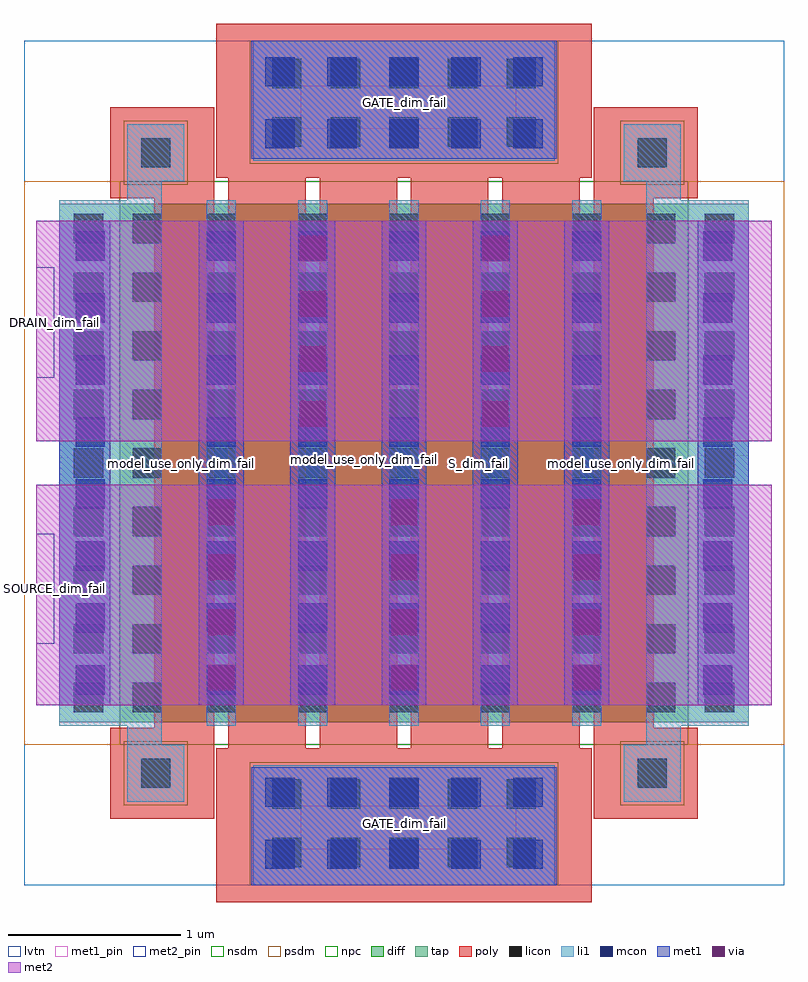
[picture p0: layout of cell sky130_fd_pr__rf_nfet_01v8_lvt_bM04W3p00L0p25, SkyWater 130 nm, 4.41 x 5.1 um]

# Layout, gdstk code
import gdstk
lib = gdstk.Library(unit=1e-6, precision=1e-09)
def R(c, l, rs):  # rectangles x0, y0, x1, y1
    for r in rs: c.add(gdstk.rectangle(r[:2], r[2:], *l))
def A(c, l, x, y, w, h, nx, ny, dx, dy):  # array of equal rectangles
    R(c, l, [(x+i*dx, y+j*dy, x+i*dx+w, y+j*dy+h) for i in range(nx) for j in range(ny)])
def P(c, l, *ps):  # polygons
    for p in ps: c.add(gdstk.Polygon(p, *l))
diff = (65, 20)
tap = (65, 44)
poly = (66, 20)
licon = (66, 44)
li1 = (67, 20)
mcon = (67, 44)
met1_pin = (68, 16)
met1 = (68, 20)
via = (68, 44)
met2_pin = (69, 16)
met2 = (69, 20)
nsdm = (93, 44)
psdm = (94, 20)
npc = (95, 20)
lvtn = (125, 44)

sky130_fd_pr__rf_nfet_01 = lib.new_cell('sky130_fd_pr__rf_nfet_01v8_lvt_bM04W3p00L0p25')
R(sky130_fd_pr__rf_nfet_01, diff, [(0.555,0.945,3.855,3.955)])
R(sky130_fd_pr__rf_nfet_01, tap, [(0.205,0.945,0.555,3.955), (3.855,0.945,4.205,3.955)])
P(sky130_fd_pr__rf_nfet_01, poly, [(0.5,0.385),(0.5,0.915),(0.755,0.915),(0.755,3.985),(0.5,3.985),(0.5,4.515),(1.105,4.515),(1.105,0.385)],
  [(3.305,0.385),(3.305,4.515),(3.91,4.515),(3.91,3.985),(3.655,3.985),(3.655,0.915),(3.91,0.915),(3.91,0.385)],
  [(1.115,-0.1),(1.115,0.795),(1.185,0.795),(1.185,4.105),(1.635,4.105),(1.635,0.795),(1.715,0.795),(1.715,4.105),(2.165,4.105),(2.165,0.795),(2.245,0.795),(2.245,4.105),(2.695,4.105),(2.695,0.795),(2.775,0.795),(2.775,4.105),(1.115,4.105),(1.115,5),(3.295,5),(3.295,4.105),(3.225,4.105),(3.225,0.795),(3.295,0.795),(3.295,-0.1)])
A(sky130_fd_pr__rf_nfet_01, licon, 1.44, 0.105, 0.17, 0.17, 5, 2, 0.34, 0.34)
A(sky130_fd_pr__rf_nfet_01, licon, 0.29, 1.005, 0.17, 0.17, 1, 9, 0, 0.34)
A(sky130_fd_pr__rf_nfet_01, licon, 0.63, 1.005, 0.17, 0.17, 1, 9, 0, 0.34)
A(sky130_fd_pr__rf_nfet_01, licon, 1.06, 1.005, 0.17, 0.17, 5, 9, 0.53, 0.34)
A(sky130_fd_pr__rf_nfet_01, licon, 3.61, 1.005, 0.17, 0.17, 1, 9, 0, 0.34)
A(sky130_fd_pr__rf_nfet_01, licon, 3.95, 1.005, 0.17, 0.17, 1, 9, 0, 0.34)
A(sky130_fd_pr__rf_nfet_01, licon, 1.44, 4.285, 0.17, 0.17, 5, 2, 0.34, 0.34)
R(sky130_fd_pr__rf_nfet_01, licon, [(0.68,0.565,0.85,0.735), (3.56,0.565,3.73,0.735), (0.68,4.165,0.85,4.335), (3.56,4.165,3.73,4.335)])
A(sky130_fd_pr__rf_nfet_01, li1, 1.06, 0.925, 0.17, 3.05, 5, 1, 0.53, 0)
A(sky130_fd_pr__rf_nfet_01, li1, 1.06, 1.105, 0.17, 2.69, 5, 1, 0.53, 0)
R(sky130_fd_pr__rf_nfet_01, li1, [(1.33,0,3.08,0.695), (0.6,0.485,0.93,0.815), (3.48,0.485,3.81,0.815), (0.6,0.815,0.8,0.925), (3.61,0.815,3.81,0.925), (0.205,0.925,0.8,3.975), (3.61,0.925,4.205,3.975), (0.6,3.975,0.8,4.085), (3.61,3.975,3.81,4.085), (0.6,4.085,0.93,4.415), (3.48,4.085,3.81,4.415), (1.33,4.205,3.08,4.9)])
A(sky130_fd_pr__rf_nfet_01, mcon, 1.4, 0.095, 0.17, 0.17, 5, 2, 0.36, 0.36)
A(sky130_fd_pr__rf_nfet_01, mcon, 0.3, 1.105, 0.17, 0.17, 1, 8, 0, 0.36)
A(sky130_fd_pr__rf_nfet_01, mcon, 1.06, 1.105, 0.17, 0.17, 5, 8, 0.53, 0.36)
A(sky130_fd_pr__rf_nfet_01, mcon, 3.94, 1.105, 0.17, 0.17, 1, 8, 0, 0.36)
A(sky130_fd_pr__rf_nfet_01, mcon, 1.4, 4.275, 0.17, 0.17, 5, 2, 0.36, 0.36)
R(sky130_fd_pr__rf_nfet_01, met1_pin, [(1.605,0.21,2.855,0.46), (0.205,2.33,0.5,2.48), (3.91,2.345,4.205,2.495), (1.605,4.39,2.855,4.64)])
A(sky130_fd_pr__rf_nfet_01, met1, 1.015, 1.045, 0.26, 2.81, 5, 1, 0.53, 0)
A(sky130_fd_pr__rf_nfet_01, met1, 1.015, 1.045, 0.26, 1.28, 3, 1, 1.06, 0)
R(sky130_fd_pr__rf_nfet_01, met1, [(1.32,0,3.09,0.685), (0.205,1.045,0.5,3.855), (3.91,1.045,4.205,3.855), (1.545,2.575,1.805,3.855), (2.605,2.575,2.865,3.855), (1.32,4.215,3.09,4.9)])
A(sky130_fd_pr__rf_nfet_01, via, 1.07, 1.13, 0.15, 0.15, 3, 4, 1.06, 0.32)
A(sky130_fd_pr__rf_nfet_01, via, 1.6, 2.66, 0.15, 0.15, 1, 4, 0, 0.32)
A(sky130_fd_pr__rf_nfet_01, via, 2.66, 2.66, 0.15, 0.15, 1, 4, 0, 0.32)
R(sky130_fd_pr__rf_nfet_01, met2_pin, [(0.07,1.4,0.175,2.04), (0.07,2.945,0.175,3.585)])
A(sky130_fd_pr__rf_nfet_01, met2, 1.015, 1.045, 0.26, 1.28, 3, 1, 1.06, 0)
R(sky130_fd_pr__rf_nfet_01, met2, [(0.07,1.045,4.34,2.325), (0.07,2.575,4.34,3.855), (1.545,2.575,1.805,3.855), (2.605,2.575,2.865,3.855)])
R(sky130_fd_pr__rf_nfet_01, nsdm, [(0.555,0.815,3.855,4.085)])
R(sky130_fd_pr__rf_nfet_01, psdm, [(0,0.815,0.555,4.085), (3.855,0.815,4.41,4.085)])
R(sky130_fd_pr__rf_nfet_01, npc, [(1.31,0,3.1,0.715), (0.58,0.465,0.95,0.835), (3.46,0.465,3.83,0.835), (0.58,4.065,0.95,4.435), (3.46,4.065,3.83,4.435), (1.31,4.185,3.1,4.9)])
R(sky130_fd_pr__rf_nfet_01, lvtn, [(0,0,4.41,4.9)])
sky130_fd_pr__rf_nfet_01.add(gdstk.Label('GATE_dim_fail', (2.205,0.36), layer=68, texttype=5))
sky130_fd_pr__rf_nfet_01.add(gdstk.Label('GATE_dim_fail', (2.205,4.54), layer=68, texttype=5))
sky130_fd_pr__rf_nfet_01.add(gdstk.Label('model_use_only_dim_fail', (3.465,2.45), layer=66, texttype=83))
sky130_fd_pr__rf_nfet_01.add(gdstk.Label('model_use_only_dim_fail', (0.915,2.45), layer=66, texttype=83))
sky130_fd_pr__rf_nfet_01.add(gdstk.Label('model_use_only_dim_fail', (1.975,2.47), layer=66, texttype=83))
sky130_fd_pr__rf_nfet_01.add(gdstk.Label('model_use_only_dim_fail', (2.4,2.49), layer=66, texttype=83))
sky130_fd_pr__rf_nfet_01.add(gdstk.Label('model_use_only_dim_fail', (2.96,2.505), layer=66, texttype=83))
sky130_fd_pr__rf_nfet_01.add(gdstk.Label('model_use_only_dim_fail', (1.43,2.47), layer=66, texttype=83))
sky130_fd_pr__rf_nfet_01.add(gdstk.Label('SUBSTRATE', (0.315,2.41), layer=68, texttype=16))
sky130_fd_pr__rf_nfet_01.add(gdstk.Label('SUBSTRATE', (4.02,2.425), layer=68, texttype=16))
sky130_fd_pr__rf_nfet_01.add(gdstk.Label('dummy_poly_dim_fail', (3.465,2.51), layer=83, texttype=44))
sky130_fd_pr__rf_nfet_01.add(gdstk.Label('dummy_poly_dim_fail', (0.91,2.51), layer=83, texttype=44))
sky130_fd_pr__rf_nfet_01.add(gdstk.Label('S_dim_fail', (1.345,2.45), layer=83, texttype=44))
sky130_fd_pr__rf_nfet_01.add(gdstk.Label('S_dim_fail', (1.775,2.45), layer=83, texttype=44))
sky130_fd_pr__rf_nfet_01.add(gdstk.Label('S_dim_fail', (2.205,2.45), layer=83, texttype=44))
sky130_fd_pr__rf_nfet_01.add(gdstk.Label('S_dim_fail', (2.635,2.45), layer=83, texttype=44))
sky130_fd_pr__rf_nfet_01.add(gdstk.Label('S_dim_fail', (1.345,2.45), layer=83, texttype=44))
sky130_fd_pr__rf_nfet_01.add(gdstk.Label('D_dim_fail', (1.775,2.45), layer=83, texttype=44))
sky130_fd_pr__rf_nfet_01.add(gdstk.Label('S_dim_fail', (2.205,2.45), layer=83, texttype=44))
sky130_fd_pr__rf_nfet_01.add(gdstk.Label('D_dim_fail', (2.635,2.45), layer=83, texttype=44))
sky130_fd_pr__rf_nfet_01.add(gdstk.Label('S_dim_fail', (3.065,2.45), layer=83, texttype=44))
sky130_fd_pr__rf_nfet_01.add(gdstk.Label('SOURCE_dim_fail', (0.175,1.72), layer=69, texttype=5))
sky130_fd_pr__rf_nfet_01.add(gdstk.Label('DRAIN_dim_fail', (0.175,3.265), layer=69, texttype=5))

lib.write_gds('sky130_fd_pr__rf_nfet_01v8_lvt_bM04W3p00L0p25.gds')
